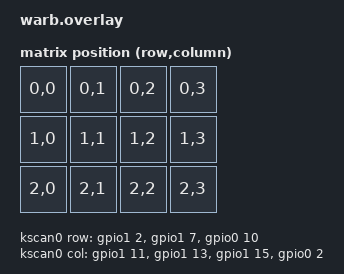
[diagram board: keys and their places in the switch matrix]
#include <dt-bindings/gpio/gpio.h>
#include <dt-bindings/zmk/matrix_transform.h>

/ {
    chosen {
        zmk,kscan = &kscan0;
        zmk,matrix-transform = &default_transform;
    };

    default_transform: keymap_transform_0 {
        compatible = "zmk,matrix-transform";
        columns = <4>;
        rows = <3>;

        map = <
            RC(0,0) RC(0,1) RC(0,2) RC(0,3)
            RC(1,0) RC(1,1) RC(1,2) RC(1,3)
            RC(2,0) RC(2,1) RC(2,2) RC(2,3)
        >;
    };

    kscan0: kscan {
        compatible = "zmk,kscan-gpio-matrix";
        diode-direction = "col2row";

        row-gpios
            = <&gpio1 2  (GPIO_ACTIVE_HIGH | GPIO_PULL_DOWN)>
            , <&gpio1 7  (GPIO_ACTIVE_HIGH | GPIO_PULL_DOWN)>
            , <&gpio0 10 (GPIO_ACTIVE_HIGH | GPIO_PULL_DOWN)>
            ;

        col-gpios
            = <&gpio1 11 GPIO_ACTIVE_HIGH>
            , <&gpio1 13 GPIO_ACTIVE_HIGH>
            , <&gpio1 15 GPIO_ACTIVE_HIGH>
            , <&gpio0 2  GPIO_ACTIVE_HIGH>
            ;
    };
};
